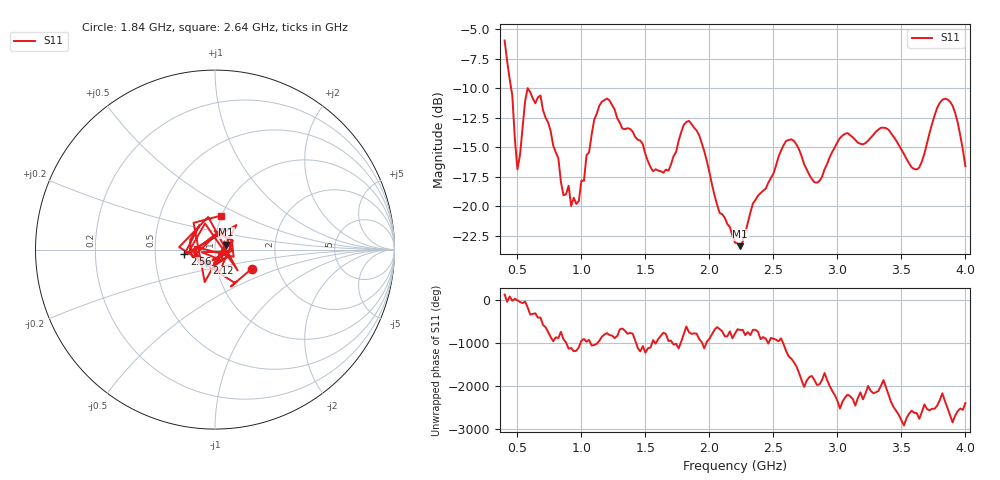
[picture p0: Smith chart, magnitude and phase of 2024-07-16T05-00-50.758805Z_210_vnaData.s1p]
!Created with skrf (http://scikit-rf.org).
# Hz S RI R 50.0
!freq ReS11 ImS11
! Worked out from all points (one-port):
!   181 points, 400 MHz to 4 GHz, reference 50 ohm
!   lowest |S11| = -23.4 dB at 2.24 GHz (marker M1), VSWR 1.15, Z = 56.5 + j3.21 ohm
!   |S11| at or under -10 dB: 451.2 MHz to 579.6 MHz (128.3 MHz wide, 24.9 % of centre); 581.4 MHz to end of sweep
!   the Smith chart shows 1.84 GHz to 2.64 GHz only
!   S11 on the Smith chart (normalised r, x): 1.84 GHz: 1.47, -0.33; 2.12 GHz: 0.90, -0.14; 2.56 GHz: 0.71, -0.04; 2.64 GHz: 0.99, +0.39
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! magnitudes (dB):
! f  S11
! 400 MHz  -5.9
! 460 MHz  -10.6
! 500 MHz  -16.9
! 580 MHz  -10.0
! 680 MHz  -10.6
! 860 MHz  -19.1
! 980 MHz  -19.5
! 1.1 GHz  -12.7
! 1.16 GHz  -11.1
! 1.3 GHz  -12.9
! 1.56 GHz  -17.0
! 1.68 GHz  -17.0
! 1.76 GHz  -14.4
! 1.84 GHz  -12.8
! 2.12 GHz  -21.0
! 2.2 GHz  -23.1
! 2.24 GHz  -23.4
! 2.56 GHz  -15.3
! 2.64 GHz  -14.3
! 2.66 GHz  -14.4
! 2.84 GHz  -18.0
! 3.1 GHz  -14.0
! 3.38 GHz  -13.4
! 3.56 GHz  -16.3
! 3.64 GHz  -16.7
! 3.84 GHz  -10.9
! 3.92 GHz  -12.1
! 4 GHz  -16.6
